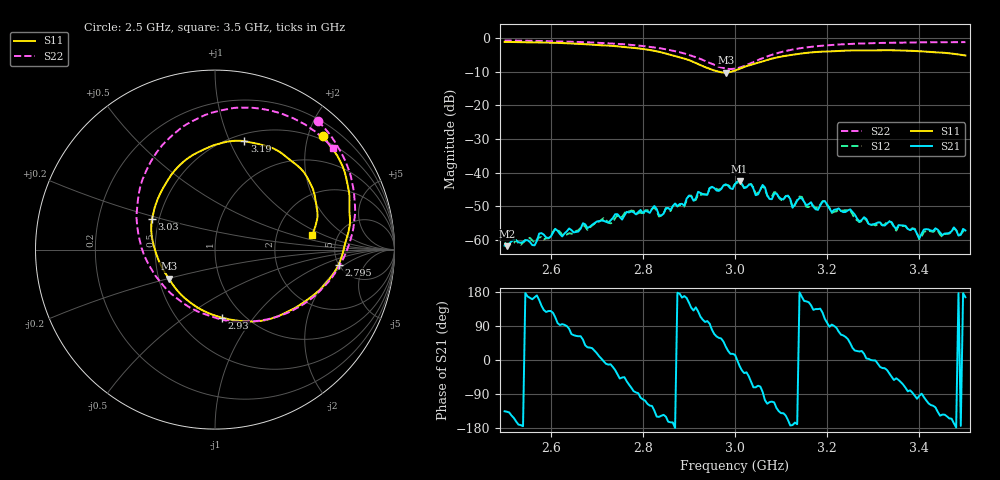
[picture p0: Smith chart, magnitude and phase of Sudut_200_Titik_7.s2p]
# Hz S RI R 50
! CMT, C1220, 16058040, 17.2.0/1
! Date: 15/08/2018 10:09:36
! Data: Format (Calibration Info)
! Freq  S11: Re/Im (F2)  S21: Re/Im (F2)  S12: Re/Im (F2)  S22: Re/Im (F2)
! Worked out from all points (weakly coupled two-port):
!   201 points, 2.5 GHz to 3.5 GHz, reference 50 ohm
!   highest |S21| = -42.66 dB at 3.01 GHz (marker M1); lowest = -61.9 dB at 2.505 GHz (marker M2)
!   lowest |S11| = -10.3 dB at 2.98 GHz (marker M3), VSWR 1.87, Z = 28.2 - j10 ohm
!   |S11| at or under -10 dB: 2.964 GHz to 2.993 GHz (28.79 MHz wide, 0.967 % of centre)
!   |S22| runs from -9.3 to -0.7 dB; largest |S21 - S12| = 0.00049
!   S11 on the Smith chart (normalised r, x): 2.5 GHz: 0.42, +2.25; 2.795 GHz: 4.99, -1.61; 2.93 GHz: 0.80, -0.71; 3.03 GHz: 0.46, +0.18; 3.19 GHz: 0.57, +1.13; 3.5 GHz: 3.23, +0.78
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2.5e9  0.5994 0.6353  -0.000583 -0.000577  -0.000654 -0.000629  0.5729 0.7165
2.505e9  0.6057 0.6278  -0.000583 -0.000554  -0.000683 -0.000504  0.5785 0.7111
2.565e9  0.6685 0.5419  -0.000802 0.000207  -0.000824 0.000377  0.6456 0.6337
2.575e9  0.6806 0.5241  -0.00115 0.000458  -0.000933 0.00055  0.6564 0.6178
2.67e9  0.7473 0.3154  0.00104 0.00142  0.00105 0.00129  0.7457 0.4431
2.795e9  0.6883 -0.0836  -0.000448 -0.00274  -0.000472 -0.00254  0.7613 0.0773
2.825e9  0.6142 -0.1912  -0.0022 -0.00229  -0.00216 -0.00211  0.7212 -0.0365
2.835e9  0.5802 -0.2271  -0.00202 -0.00116  -0.00191 -0.00112  0.7017 -0.0761
2.93e9  0.0393 -0.3793  -0.00135 0.00458  -0.00163 0.00443  0.2579 -0.3949
2.98e9  -0.2579 -0.1615  0.00547 0.00384  0.00523 0.00392  -0.1398 -0.323
3e9  -0.3267 -0.0259  0.00654 0.00159  0.00663 0.00116  -0.2772 -0.2129
3.01e9  -0.3456 0.04  0.00708 -0.00201  0.00676 -0.0018  -0.3332 -0.1436
3.03e9  -0.3509 0.17  0.00478 -0.00451  0.00485 -0.00453  -0.4096 0.0113
3.1e9  -0.158 0.5038  -0.00312 -0.0026  -0.00308 -0.00242  -0.3464 0.5092
3.17e9  0.0997 0.6054  -0.0021 0.0023  -0.00232 0.0022  -0.0758 0.7409
3.19e9  0.1631 0.604  -0.00213 0.00305  -0.00189 0.0032  -0.00154 0.7673
3.27e9  0.3723 0.5358  0.00173 0.000717  0.0017 0.000681  0.2554 0.7849
3.335e9  0.4906 0.437  0.00152 -0.0011  0.00151 -0.00112  0.4082 0.7432
3.39e9  0.5468 0.3333  -0.0001 -0.00143  -0.000157 -0.00145  0.5101 0.6917
3.4e9  0.5526 0.313  -8.21e-05 -0.00104  -0.000146 -0.00101  0.5259 0.6799
3.415e9  0.5599 0.2775  -0.000411 -0.00138  -0.000356 -0.0013  0.5498 0.6637
3.5e9  0.5421 0.0841  -0.00133 0.00034  -0.00118 0.000395  0.6574 0.5639
